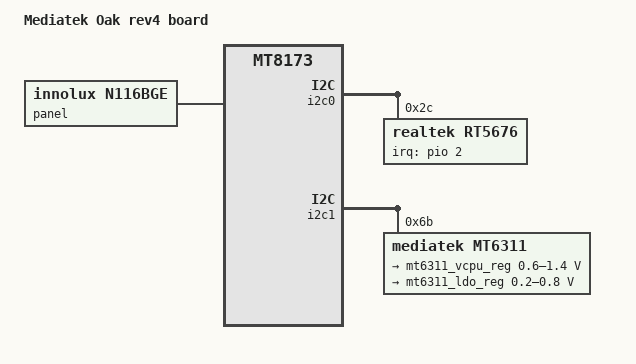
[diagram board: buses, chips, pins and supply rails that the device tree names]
/*
 * Copyright 2015 MediaTek Inc.
 * Author: Eddie Huang <eddie.huang@mediatek.com>
 *
 * This program is free software; you can redistribute it and/or modify
 * it under the terms of the GNU General Public License version 2 as
 * published by the Free Software Foundation.
 *
 * This program is distributed in the hope that it will be useful,
 * but WITHOUT ANY WARRANTY; without even the implied warranty of
 * MERCHANTABILITY or FITNESS FOR A PARTICULAR PURPOSE.  See the
 * GNU General Public License for more details.
 */

/dts-v1/;
#include "mt8173-oak.dtsi"

/ {
	model = "Mediatek Oak rev4 board";
	compatible = "google,oak-rev4", "google,oak", "mediatek,mt8173";
};

&anx7814 {
	reset-gpios = <&pio 98 GPIO_ACTIVE_LOW>;
};

&anx7814_pins {
	pins1 {
		pinmux = <MT8173_PIN_33_DAICLK__FUNC_GPIO33>,
			 <MT8173_PIN_35_DAIPCMOUT__FUNC_GPIO35>,
			 <MT8173_PIN_36_DAISYNC__FUNC_GPIO36>,
			 <MT8173_PIN_98_URTS1__FUNC_GPIO98>,
			 <MT8173_PIN_99_UCTS1__FUNC_GPIO99>;
	};
};

&aud_i2s2 {
	pins1 {
		pinmux = <MT8173_PIN_128_I2S0_LRCK__FUNC_I2S1_WS>,
			 <MT8173_PIN_129_I2S0_BCK__FUNC_I2S1_BCK>,
			 <MT8173_PIN_130_I2S0_MCK__FUNC_I2S1_MCK>,
			 <MT8173_PIN_131_I2S0_DATA0__FUNC_I2S1_DO_1>,
			 <MT8173_PIN_132_I2S0_DATA1__FUNC_I2S2_DI_2>;
		bias-pull-down;
	};
};

&bl_fixed_pins {
	pins1 {
		pinmux = <MT8173_PIN_88_SRCLKENAI__FUNC_GPIO88>;
		output-low;
	};
};

&bl_fixed_reg {
	gpio = <&pio 88 GPIO_ACTIVE_HIGH>;
};

&cpu0 {
	operating-points = <
		507000  859000
		702000  908000
		1001000 983000
		1105000 1009000
		1183000 1028000
		1404000 1083000
	>;
	sched-energy-costs = <&MT8173_CPU_COST_0 &MT8173_CLUSTER_COST_0>;
};

&cpu1 {
	operating-points = <
		507000  859000
		702000  908000
		1001000 983000
		1105000 1009000
		1183000 1028000
		1404000 1083000
	>;
	sched-energy-costs = <&MT8173_CPU_COST_0 &MT8173_CLUSTER_COST_0>;
};

&cpu2 {
	operating-points = <
		507000  828000
		702000  867000
		1001000 927000
		1209000 968000
		1404000 1007000
		1612000 1049000
		1807000 1089000
	>;
	proc-supply = <&mt6311_vcpu_reg>;
	sched-energy-costs = <&MT8173_CPU_COST_1 &MT8173_CLUSTER_COST_1>;
};

&cpu3 {
	operating-points = <
		507000  828000
		702000  867000
		1001000 927000
		1209000 968000
		1404000 1007000
		1612000 1049000
		1807000 1089000
	>;
	proc-supply = <&mt6311_vcpu_reg>;
	sched-energy-costs = <&MT8173_CPU_COST_1 &MT8173_CLUSTER_COST_1>;
};

&gpio_keys {
	/delete-property/pinctrl-names;
	/delete-property/pinctrl-0;

	/delete-node/tablet_mode;
	/delete-node/volume_down;
	/delete-node/volume_up;
};

&gpu {
	mfgsys-power-supply = <&mt6397_vgpu_reg>;
	operating-points = <
		253500 1000000
		299000 1000000
		396500 1000000
		455000 1000000
	>;
};

&i2c0 {
	rt5676: audio-codec@2c {
		compatible = "realtek,rt5676";
		reg = <0x2c>;
		interrupt-parent = <&pio>;
		interrupts = <2 IRQ_TYPE_EDGE_BOTH>;
		pinctrl-names = "default";
		pinctrl-0 = <&rt5676_irq>;
	};
};

&i2c1 {
	/delete-node/da9211@68;

	mt6311: mt6311@6b {
		compatible = "mediatek,mt6311";
		reg = <0x6b>;

		regulators {
			mt6311_vcpu_reg: VDVFS {
				regulator-name = "VDVFS";
				regulator-min-microvolt = < 600000>;
				regulator-max-microvolt = <1400000>;
				regulator-ramp-delay = <10000>;
				regulator-always-on;
			};
			mt6311_ldo_reg: VBIASN {
				regulator-name = "VBIASN";
				regulator-min-microvolt = <200000>;
				regulator-max-microvolt = <800000>;
			};
		};
	};
};

&i2c3 {
	/delete-node/touchscreen@10;
};

&mmc1 {
	/delete-property/wp-gpios;
};

&mmc1_pins_default {
	/delete-node/pins_wp;
};

&mmc3_pins_default {
	pins_pdn {
		pinmux = <MT8173_PIN_100_MSDC2_DAT0__FUNC_GPIO100>;
		output-high;
	};
};

&panel {
	compatible = "innolux,n116bge";
};

&pio {
	/delete-node/gpio_keys_node;

	rt5676_irq: rt5676_irq {
		pins1 {
			pinmux = <MT8173_PIN_2_EINT2__FUNC_GPIO2>;
			bias-pull-down;
		};
	};
};

&ps8640_pins {
	pins1 {
		pinmux = <MT8173_PIN_92_PCM_CLK__FUNC_GPIO92>,
			 <MT8173_PIN_115_URTS0__FUNC_GPIO115>,
			 <MT8173_PIN_116_UCTS0__FUNC_GPIO116>;
	};
};

&ps8640_fixed_1v2 {
	gpio = <&pio 89 GPIO_ACTIVE_HIGH>;
};

&ps8640_fixed_pins {
	pins1 {
		pinmux = <MT8173_PIN_89_SRCLKENAI2__FUNC_GPIO89>;
	};
};

&ps8640 {
	sleep-gpios = <&pio 116 GPIO_ACTIVE_HIGH>;
};

/delete-node/&rt5514;

/delete-node/&rt5514_irq;

&scpsys {
	mfg_async-supply = <&mt6397_vgpu_reg>;
};

&sdio_fixed_3v3 {
	gpio = <&pio 100 GPIO_ACTIVE_HIGH>;
	enable-active-high;
};

&sound {
	compatible = "mediatek,mt8173-rt5650-rt5676";
	mediatek,audio-codec = <&rt5650 &rt5676>;
};

&thermal {
	bank1-supply = <&mt6311_vcpu_reg>;
};

&trackpad {
	interrupts = <124 IRQ_TYPE_LEVEL_LOW>;
};
